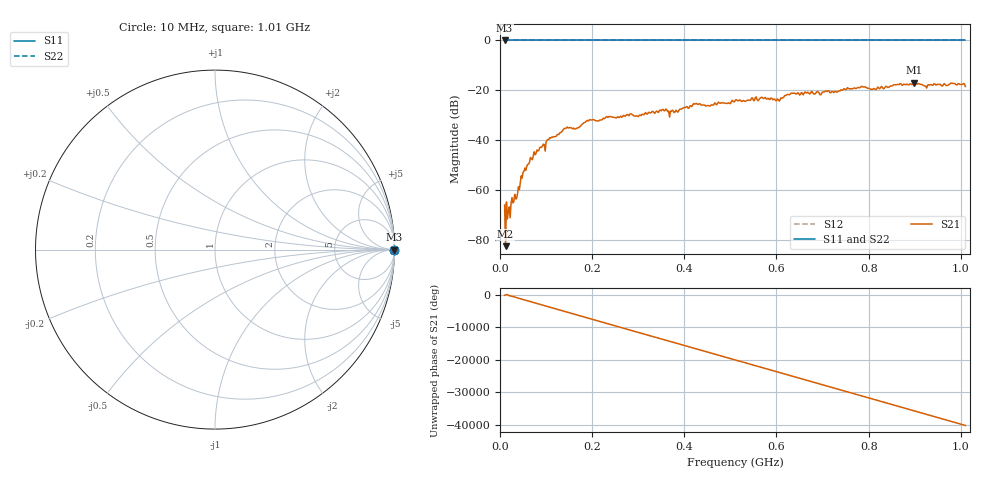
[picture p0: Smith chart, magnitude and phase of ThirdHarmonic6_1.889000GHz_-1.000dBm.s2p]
! 8/16/2025 10:48:55 PM
! C:\ANRITSUVNA\TEMP\TEMP.S2P
! CHANNEL.1
! TR.MEASUREMENT
! RAW.DATA
! RF.CORRECTION.OFF
! AVERAGING.OFF
! IF.BANDWIDTH: 5KHZ
! SWEEPTYPE:  FREQ.SWEEP(Linear)
! Reference Plane Port Info
! PORT:  PORT1  PORT2
! DISTANCE:  0  m  0  m
! TIME:  0  s  0  s
! PHASE.OFFSET:  0  deg.  0  deg.
! LOSS:  0  dB  0  dB
! REF.LOSS:  0  dB  0  dB
! REF.FREQ:  0  Hz  0  Hz
! Power Info
! POWER:  -20  dBm  -20  dBm
! EFF.POWER:  -20  dBm  -20  dBm
! SOURCE.ATTEN:  0  dB  0  dB
! TEST.ATTEN:  0  dB  0  dB
# GHZ S RI R 50.0
! FREQ.GHZ  S11RE  S11IM  S21RE  S21IM  S12RE  S12IM  S22RE  S22IM
!; PortSelection: Port_12
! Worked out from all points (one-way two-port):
!   501 points, 10 MHz to 1.01 GHz, reference 50 ohm
!   highest |S21| = -16.93 dB at 898 MHz (marker M1); lowest = -82.3 dB at 12 MHz (marker M2)
!   lowest |S11| = 0.0 dB at 10 MHz (marker M3)
!   |S11| at or under -10 dB: nowhere
!   |S22| runs from 0.0 to 0.0 dB; largest |S21 - S12| = 1.1
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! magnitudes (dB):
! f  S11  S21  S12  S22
! 10 MHz  0.0  -65.8  0.0  0.0
! 12 MHz  0.0  -82.3  0.0  0.0
! 16 MHz  0.0  -71.4  0.0  0.0
! 28 MHz  0.0  -65.0  0.0  0.0
! 38 MHz  0.0  -61.3  0.0  0.0
! 50 MHz  0.0  -52.8  0.0  0.0
! 78 MHz  0.0  -45.3  0.0  0.0
! 142 MHz  0.0  -35.2  0.0  0.0
! 166 MHz  0.0  -35.2  0.0  0.0
! 178 MHz  0.0  -33.5  0.0  0.0
! 234 MHz  0.0  -30.8  0.0  0.0
! 344 MHz  0.0  -28.8  0.0  0.0
! 382 MHz  0.0  -27.9  0.0  0.0
! 424 MHz  0.0  -25.4  0.0  0.0
! 452 MHz  0.0  -26.0  0.0  0.0
! 510 MHz  0.0  -24.2  0.0  0.0
! 602 MHz  0.0  -23.4  0.0  0.0
! 634 MHz  0.0  -21.1  0.0  0.0
! 678 MHz  0.0  -20.6  0.0  0.0
! 844 MHz  0.0  -18.7  0.0  0.0
! 898 MHz  0.0  -16.9  0.0  0.0
! 1.01 GHz  0.0  -18.4  0.0  0.0
